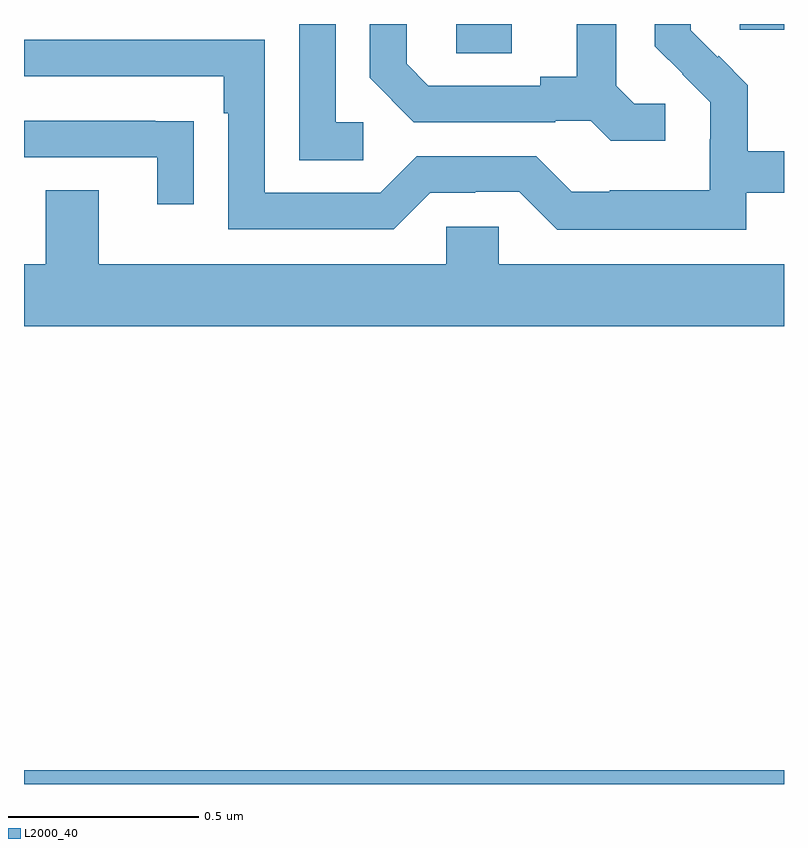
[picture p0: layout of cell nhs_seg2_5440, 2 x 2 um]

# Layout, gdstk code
import gdstk
lib = gdstk.Library(unit=1e-6, precision=1e-09)
def R(c, l, rs):  # rectangles x0, y0, x1, y1
    for r in rs: c.add(gdstk.rectangle(r[:2], r[2:], *l))
def P(c, l, *ps):  # polygons
    for p in ps: c.add(gdstk.Polygon(p, *l))
L2000_40 = (2000, 40)

nhs_seg2_5440 = lib.new_cell('nhs_seg2_5440')
R(nhs_seg2_5440, L2000_40, [(179,611.8,181,611.836), (180.138,613.723,180.283,613.8), (180.884,613.785,181,613.8)])
P(nhs_seg2_5440, L2000_40, [(180.688,613.59),(180.606,613.59),(180.559,613.637),(180.559,613.8),(180.455,613.8),(180.455,613.661),(180.359,613.661),(180.359,613.638),(180.064,613.638),(180.007,613.695),(180.007,613.8),(179.91,613.8),(179.91,613.658),(180.026,613.542),(180.398,613.542),(180.398,613.545),(180.492,613.545),(180.544,613.493),(180.688,613.493)],
  [(180.9,613.356),(181,613.356),(181,613.465),(180.905,613.465),(180.905,613.639),(180.828,613.716),(180.825,613.713),(180.755,613.784),(180.755,613.8),(180.66,613.8),(180.66,613.742),(180.733,613.669),(180.732,613.668),(180.806,613.594),(180.806,613.497),(180.804,613.497),(180.804,613.363),(180.541,613.363),(180.541,613.359),(180.441,613.359),(180.348,613.452),(180.033,613.452),(179.937,613.356),(179.634,613.356),(179.634,613.758),(179,613.758),(179,613.662),(179.525,613.662),(179.525,613.565),(179.538,613.565),(179.538,613.26),(179.973,613.26),(180.069,613.356),(180.188,613.356),(180.188,613.359),(180.303,613.359),(180.403,613.259),(180.9,613.259)],
  [(179.893,613.542),(179.82,613.542),(179.82,613.8),(179.724,613.8),(179.724,613.441),(179.893,613.441)],
  [(179.447,613.544),(179.345,613.544),(179.345,613.545),(179,613.545),(179,613.449),(179.351,613.449),(179.351,613.326),(179.447,613.326)],
  [(181,613.168),(180.249,613.168),(180.249,613.266),(180.111,613.266),(180.111,613.168),(179.197,613.168),(179.197,613.363),(179.057,613.363),(179.057,613.168),(179,613.168),(179,613.004),(181,613.004)])

lib.write_gds('nhs_seg2_5440.gds')
